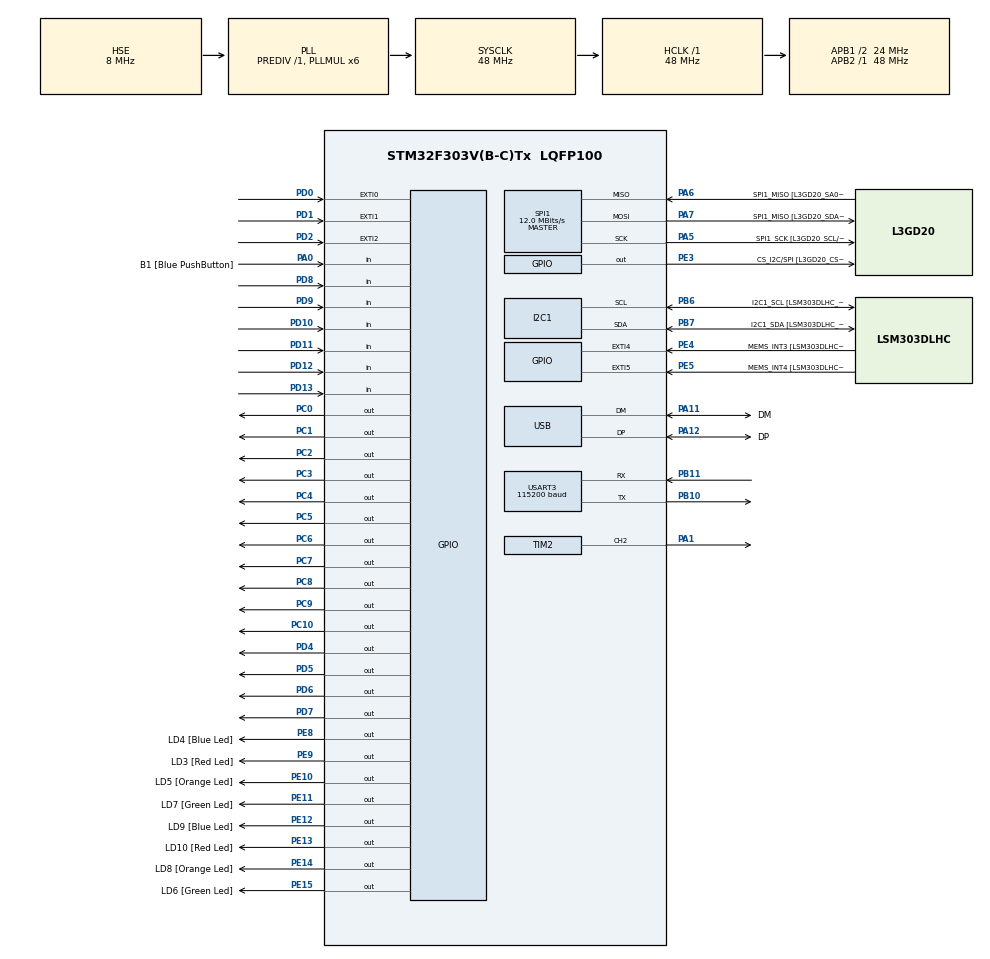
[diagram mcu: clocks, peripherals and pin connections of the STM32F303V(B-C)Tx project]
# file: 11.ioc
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I2C1.Timing-I2C=0x2000090E
Mcu.Family=STM32F3
Mcu.Name=STM32F303V(B-C)Tx
Mcu.Package=LQFP100
NVIC.EXTI0_IRQn=true\:1\:0\:true\:false\:true\:true\:true\:true
NVIC.EXTI1_IRQn=true\:1\:0\:true\:false\:true\:true\:true\:true
NVIC.EXTI2_TSC_IRQn=true\:1\:0\:true\:false\:true\:true\:true\:true
NVIC.PriorityGroup=NVIC_PRIORITYGROUP_2
PA0.GPIO_Label=B1 [Blue PushButton]
PA0.Signal=GPIO_Input
PA1.Signal=S_TIM2_CH2
PA11.GPIO_Label=DM
PA11.Mode=Device
PA11.Signal=USB_DM
PA12.GPIO_Label=DP
PA12.Mode=Device
PA12.Signal=USB_DP
PA13.GPIO_Label=SWDIO
PA13.Mode=Serial_Wire
PA13.Signal=SYS_JTMS-SWDIO
PA14.GPIO_Label=SWCLK
PA14.Mode=Serial_Wire
PA14.Signal=SYS_JTCK-SWCLK
PA5.GPIO_Label=SPI1_SCK [L3GD20_SCL/SPC]
PA5.Mode=Full_Duplex_Master
PA5.Signal=SPI1_SCK
PA6.GPIO_Label=SPI1_MISO [L3GD20_SA0/SDO]
PA6.Mode=Full_Duplex_Master
PA6.Signal=SPI1_MISO
PA7.GPIO_Label=SPI1_MISO [L3GD20_SDA/SDI/SDO]
PA7.Mode=Full_Duplex_Master
PA7.Signal=SPI1_MOSI
PB10.Mode=Asynchronous
PB10.Signal=USART3_TX
PB11.Mode=Asynchronous
PB11.Signal=USART3_RX
PB3.GPIO_Label=SWO
PB3.Signal=SYS_JTDO-TRACESWO
PB6.GPIO_Label=I2C1_SCL [LSM303DLHC_SCL]
PB6.GPIO_Pu=GPIO_PULLUP
PB6.Mode=I2C
PB6.Signal=I2C1_SCL
PB7.GPIO_Label=I2C1_SDA [LSM303DLHC_SDA]
PB7.GPIO_Pu=GPIO_PULLUP
PB7.Mode=I2C
PB7.Signal=I2C1_SDA
PC0.Signal=GPIO_Output
PC1.Signal=GPIO_Output
PC10.Signal=GPIO_Output
PC14-OSC32_IN.GPIO_Label=OSC32_IN
PC14-OSC32_IN.Signal=RCC_OSC32_IN
PC15-OSC32_OUT.GPIO_Label=OSC32_OUT
PC15-OSC32_OUT.Signal=RCC_OSC32_OUT
PC2.Signal=GPIO_Output
PC3.Signal=GPIO_Output
PC4.Signal=GPIO_Output
PC5.Signal=GPIO_Output
PC6.Signal=GPIO_Output
PC7.Signal=GPIO_Output
PC8.Signal=GPIO_Output
PC9.Signal=GPIO_Output
PD0.GPIO_ModeDefaultEXTI=GPIO_MODE_IT_RISING
PD0.GPIO_PuPd=GPIO_PULLDOWN
PD0.Signal=GPXTI0
PD1.GPIO_ModeDefaultEXTI=GPIO_MODE_IT_RISING
PD1.GPIO_PuPd=GPIO_PULLDOWN
PD1.Signal=GPXTI1
PD10.Signal=GPIO_Input
PD11.Signal=GPIO_Input
PD12.Signal=GPIO_Input
PD13.Signal=GPIO_Input
PD2.GPIO_ModeDefaultEXTI=GPIO_MODE_IT_RISING
PD2.GPIO_PuPd=GPIO_PULLDOWN
PD2.Signal=GPXTI2
PD4.Signal=GPIO_Output
PD5.Signal=GPIO_Output
PD6.Signal=GPIO_Output
PD7.Signal=GPIO_Output
PD8.Signal=GPIO_Input
PD9.Signal=GPIO_Input
PE10.GPIO_Label=LD5 [Orange Led]
PE10.Signal=GPIO_Output
PE11.GPIO_Label=LD7 [Green Led]
PE11.Signal=GPIO_Output
PE12.GPIO_Label=LD9 [Blue Led]
PE12.Signal=GPIO_Output
PE13.GPIO_Label=LD10 [Red Led]
PE13.Signal=GPIO_Output
PE14.GPIO_Label=LD8 [Orange Led]
PE14.Signal=GPIO_Output
PE15.GPIO_Label=LD6 [Green Led]
PE15.Signal=GPIO_Output
PE3.GPIO_Label=CS_I2C/SPI [L3GD20_CS_I2C/SPI]
PE3.Signal=GPIO_Output
PE4.GPIO_Label=MEMS_INT3 [LSM303DLHC_INT1]
PE4.GPIO_ModeDefaultEXTI=GPIO_MODE_EVT_RISING
PE4.Signal=GPXTI4
PE5.GPIO_Label=MEMS_INT4 [LSM303DLHC_INT2]
PE5.GPIO_ModeDefaultEXTI=GPIO_MODE_EVT_RISING
PE5.Signal=GPXTI5
PE8.GPIO_Label=LD4 [Blue Led]
PE8.Signal=GPIO_Output
PE9.GPIO_Label=LD3 [Red Led]
PE9.Signal=GPIO_Output
PF0-OSC_IN.GPIO_Label=OSC_IN
PF0-OSC_IN.Mode=HSE-External-Clock-Source
PF0-OSC_IN.Signal=RCC_OSC_IN
PF1-OSC_OUT.GPIO_Label=OSC_OUT
PF1-OSC_OUT.Signal=RCC_OSC_OUT
ProjectManager.HeapSize=0x200
ProjectManager.StackSize=0x400
ProjectManager.TargetToolchain=STM32CubeIDE
RCC.AHBFreq_Value=48000000
RCC.APB1CLKDivider=RCC_HCLK_DIV2
RCC.APB1Freq_Value=24000000
RCC.APB1TimFreq_Value=48000000
RCC.APB2Freq_Value=48000000
RCC.APB2TimFreq_Value=48000000
RCC.CortexFreq_Value=48000000
RCC.HCLKFreq_Value=48000000
RCC.HSE_VALUE=8000000
RCC.HSI_VALUE=8000000
RCC.LSE_VALUE=32768
RCC.PLLMUL=RCC_PLL_MUL6
RCC.SYSCLKFreq_VALUE=48000000
RCC.SYSCLKSourceVirtual=RCC_SYSCLKSOURCE_PLLCLK
RCC.USBFreq_Value=48000000
RTC.AsynchPrediv=39
RTC.SynchPrediv=999
SH.S_TIM2_CH2.0=TIM2_CH2,PWM Generation2 CH2
SPI1.BaudRatePrescaler=SPI_BAUDRATEPRESCALER_4
SPI1.BaudRatePrescaler-Full_Duplex_Master=SPI_BAUDRATEPRESCALER_2
SPI1.CalculateBaudRate=12.0 MBits/s
SPI1.CalculateBaudRate-Full_Duplex_Master=24.0 MBits/s
SPI1.Direction=SPI_DIRECTION_2LINES
SPI1.Mode=SPI_MODE_MASTER
SPI1.Mode-Full_Duplex_Master=SPI_MODE_MASTER
SPI1.VirtualType=VM_MASTER
TIM2.Channel-PWM\ Generation2\ CH2=TIM_CHANNEL_2
USART3.BaudRate=115200
USART3.VirtualMode-Asynchronous=VM_ASYNC
VP_RTC_VS_RTC_Activate.Mode=RTC_Enabled
VP_RTC_VS_RTC_Calendar.Mode=RTC_Calendar
VP_TIM2_VS_ClockSourceINT.Mode=Internal
board=STM32F3DISCOVERY

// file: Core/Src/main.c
/* USER CODE BEGIN Header */
/**
  ******************************************************************************
  * @file           : main.c
  * @brief          : Main program body
  ******************************************************************************
  * @attention
  *
  * Copyright (c) 2024 STMicroelectronics.
  * All rights reserved.
  *
  * This software is licensed under terms that can be found in the LICENSE file
  * in the root directory of this software component.
  * If no LICENSE file comes with this software, it is provided AS-IS.
  *
  ******************************************************************************
  */
/* USER CODE END Header */
#include "main.h"

/* USER CODE BEGIN Includes */
#include "LiquidCrystal.h"

/* USER CODE END Includes */

I2C_HandleTypeDef hi2c1;

RTC_HandleTypeDef hrtc;

SPI_HandleTypeDef hspi1;

TIM_HandleTypeDef htim2;

UART_HandleTypeDef huart3;

PCD_HandleTypeDef hpcd_USB_FS;

void SystemClock_Config(void);
static void MX_GPIO_Init(void);
static void MX_I2C1_Init(void);
static void MX_SPI1_Init(void);
static void MX_USB_PCD_Init(void);
static void MX_USART3_UART_Init(void);
static void MX_RTC_Init(void);
static void MX_TIM2_Init(void);

/* USER CODE BEGIN 0 */

 int keypadjump=0;
 int pause=0;
 int start=0;

 RTC_TimeTypeDef sTime;
 RTC_DateTypeDef sDate;

 int UARTSETTIME=0;
  char rxBuffer[3]; // Buffer to store received data (8 characters + null terminator)
  //store input timer
char time[6];

//convert to rtc
uint8_t hourString[3];  // Buffer to hold the hour string for transmission
uint8_t minString[3];  // Buffer to hold the hour string for transmission
uint8_t secString[3];  // Buffer to hold the hour string for transmission

int initiate=0;

int mode=0;
int menu=0;
int menuposition=-1;
//for accepting menu option binary
int  menuchoice=0;

int clearmenuchoice=0;

int settingoption=0;
int health=1;
int speed=9;
int vol=1;
int blocks=4;

int returnfromchosen=0;
int end;

int mysterytimecount=0;
int xmystery=0;
int ymystery=0;
//heart=3
//4=mystery
//2=block
//1=apple

//6=body
//5=head
//-1=nothing

int grid[4][20];

//1=up;
//2=dwn;
//3=left;
//4=right;
int direction=4;
int snakelenght=1;

int currenthealth=2;
int currentapples=3;
int point=0;
//head to tale ([][])-->prioprity
int minute=0;

int finishgame=0;
typedef unsigned char byte;
byte heart[8] = {
  0x00,
  0x00,
  0x0A,
  0x15,
  0x11,
  0x0A,
  0x04,
  0x00
};
byte apple[8] = {
  0x00,
  0x06,
  0x04,
  0x0E,
  0x0E,
  0x0E,
  0x00,
  0x00
};
byte block[] = {
  0x00,
  0x1F,
  0x04,
  0x04,
  0x04,
  0x04,
  0x1F,
  0x00
};
byte luckybox[] = {
  0x00,
  0x0E,
  0x0A,
  0x06,
  0x04,
  0x00,
  0x04,
  0x00
};
byte menucursor[] = {
  0x00,
  0x18,
  0x1C,
  0x1E,
  0x1C,
  0x18,
  0x00,
  0x00
};
byte snake[] = {
  0x1F,
  0x1F,
  0x1F,
  0x1F,
  0x1F,
  0x1F,
  0x1F,
  0x1F
};
byte headsnake[] = {
  0x1F,
  0x1F,
  0x1F,
  0x19,
  0x19,
  0x1F,
  0x1F,
  0x1F
};

struct Segment{
	int x;
	int y;
	struct Segment *next;

};
enum Direction {UP, DOWN, LEFT, RIGHT};
/* USER CODE END 0 */

int main(void)
{
  /* USER CODE BEGIN 1 */

 	//empty field

	enum Direction currentDir = RIGHT;

	for(int i=0;i<4;i++){
		for(int j=0;j<20;j++){

			  grid[i][j]=-1;

		}
	}

	// Initialize snake
	struct Segment* segment = malloc(sizeof(struct Segment));
	struct Segment* tail = malloc(sizeof(struct Segment));

	segment->x = 0;
	segment->y = 1;
	segment->next = tail;

	tail->x=0;
	tail->y=0;
	tail->next=NULL;

grid[0][0]=6;
grid[0][1]=5;

  /* USER CODE END 1 */

  /* MCU Configuration--------------------------------------------------------*/

  /* Reset of all peripherals, Initializes the Flash interface and the Systick. */
  HAL_Init();

  /* Configure the system clock */
  SystemClock_Config();

  /* Initialize all configured peripherals */
  MX_GPIO_Init();
  MX_I2C1_Init();
  MX_SPI1_Init();
  MX_USB_PCD_Init();
  MX_USART3_UART_Init();
  MX_RTC_Init();
  MX_TIM2_Init();
  /* USER CODE BEGIN 2 */

  LiquidCrystal(GPIOD,GPIO_PIN_8,GPIO_PIN_9, GPIO_PIN_10, GPIO_PIN_11,GPIO_PIN_12,GPIO_PIN_13, GPIO_PIN_14);
  begin(20,4);

  RTC_TimeTypeDef mytime;
  int number=0;

  TIM_HandleTypeDef *pwm_timers=&htim2;
  uint32_t pwm_channels=TIM_CHANNEL_2;
  void PWM_Change_Tones(uint16_t pwm_freq,uint16_t volume){
  	  TIM4->CCR2=10;
  	  if(pwm_freq==0||pwm_freq>20000){

  		  __HAL_TIM_SET_COMPARE(pwm_timers,pwm_channels,0);

  	  }
  	  else{
  		  const uint32_t internal_Clock_freq=HAL_RCC_GetSysClockFreq();
  		  const uint16_t prescaler=1+internal_Clock_freq/pwm_freq/60000;
  		  const uint32_t timer_clock=internal_Clock_freq/ prescaler;
  		  const uint32_t period_cycle=timer_clock/pwm_freq;
          const uint32_t pulse_width=volume*period_cycle/1000/2;

          pwm_timers->Instance->PSC=prescaler-1;
          pwm_timers->Instance->ARR=period_cycle-1;
          pwm_timers->Instance->EGR=TIM_EGR_UG;
  __HAL_TIM_SET_COMPARE(pwm_timers,pwm_channels,pulse_width);

  	  }

  }
  void On_First7segment(){
  	   	  				HAL_GPIO_WritePin(GPIOC,GPIO_PIN_7,0);
  	   }
  void On_Second7segment(){
  	   	  				HAL_GPIO_WritePin(GPIOC,GPIO_PIN_8,0);}
  void On_Third7segment(){
  	   	  	  			HAL_GPIO_WritePin(GPIOC,GPIO_PIN_9,0);
  	   	  }

  void On_Forth7segment(){
  	   	  				HAL_GPIO_WritePin(GPIOC,GPIO_PIN_10,0);
  	   }
  void Off_First7segment(){
   	   	  				HAL_GPIO_WritePin(GPIOC,GPIO_PIN_7,1);
  	   					HAL_GPIO_WritePin(GPIOC,GPIO_PIN_0,0);
  	   		   		  	HAL_GPIO_WritePin(GPIOC,GPIO_PIN_1,0);
  	   		   		  	HAL_GPIO_WritePin(GPIOC,GPIO_PIN_2,0);
  	   		   		  	HAL_GPIO_WritePin(GPIOC,GPIO_PIN_3,0);
  	   		   		  	HAL_GPIO_WritePin(GPIOC,GPIO_PIN_4,0);
  	   		   		  	HAL_GPIO_WritePin(GPIOC,GPIO_PIN_5,0);
  	   		   		  	HAL_GPIO_WritePin(GPIOC,GPIO_PIN_6,0);
  	   }
  void Off_Second7segment(){
  	   	  				HAL_GPIO_WritePin(GPIOC,GPIO_PIN_8,1);
  	   					HAL_GPIO_WritePin(GPIOC,GPIO_PIN_0,0);
  	   		   		  	HAL_GPIO_WritePin(GPIOC,GPIO_PIN_1,0);
  	   		   		  	HAL_GPIO_WritePin(GPIOC,GPIO_PIN_2,0);
  	   		   		  	HAL_GPIO_WritePin(GPIOC,GPIO_PIN_3,0);
  	   		   		  	HAL_GPIO_WritePin(GPIOC,GPIO_PIN_4,0);
  	   		   		  	HAL_GPIO_WritePin(GPIOC,GPIO_PIN_5,0);
  	   		   		  	HAL_GPIO_WritePin(GPIOC,GPIO_PIN_6,0);}
  void Off_Third7segment(){
  	   	  	 			HAL_GPIO_WritePin(GPIOC,GPIO_PIN_9,1);
  	   	  				HAL_GPIO_WritePin(GPIOC,GPIO_PIN_0,0);
  	   	  		   	        HAL_GPIO_WritePin(GPIOC,GPIO_PIN_1,0);
  	   	  		   	        HAL_GPIO_WritePin(GPIOC,GPIO_PIN_2,0);
  	   	  		   		HAL_GPIO_WritePin(GPIOC,GPIO_PIN_3,0);
  	   	  		   		HAL_GPIO_WritePin(GPIOC,GPIO_PIN_4,0);
      		  	    		        HAL_GPIO_WritePin(GPIOC,GPIO_PIN_5,0);
  	   	  		   		HAL_GPIO_WritePin(GPIOC,GPIO_PIN_6,0);
  	   	  }

  void Off_Forth7segment(){
  	   	  				HAL_GPIO_WritePin(GPIOC,GPIO_PIN_10,1);
  	   					HAL_GPIO_WritePin(GPIOC,GPIO_PIN_0,0);
  	   		  		        HAL_GPIO_WritePin(GPIOC,GPIO_PIN_1,0);
  	   		  		        HAL_GPIO_WritePin(GPIOC,GPIO_PIN_2,0);
  	   		  		  	HAL_GPIO_WritePin(GPIOC,GPIO_PIN_3,0);
  	   		  		        HAL_GPIO_WritePin(GPIOC,GPIO_PIN_4,0);
  	   		  		  	HAL_GPIO_WritePin(GPIOC,GPIO_PIN_5,0);
  	   		  		  	HAL_GPIO_WritePin(GPIOC,GPIO_PIN_6,0);
  	   }
  void Number (int number){
  	  	  if(number==0){
  	  	    		  		  HAL_GPIO_WritePin(GPIOC,GPIO_PIN_0,1);
  	  	    				  HAL_GPIO_WritePin(GPIOC,GPIO_PIN_1,1);
  	  	    	  	  		  HAL_GPIO_WritePin(GPIOC,GPIO_PIN_2,1);
  	  	    				  HAL_GPIO_WritePin(GPIOC,GPIO_PIN_3,1);
  	  	    		  		  HAL_GPIO_WritePin(GPIOC,GPIO_PIN_4,1);
  	  	    		 		  HAL_GPIO_WritePin(GPIOC,GPIO_PIN_5,1);

  	  	  }

  	  	  if(number==1){
  	  		 		       	  HAL_GPIO_WritePin(GPIOC,GPIO_PIN_1,1);
  	  		  			  HAL_GPIO_WritePin(GPIOC,GPIO_PIN_2,1);

  	  	  }
  	  	  if(number==2){
  	  		 			  HAL_GPIO_WritePin(GPIOC,GPIO_PIN_0,1);
  	  		  	    		  HAL_GPIO_WritePin(GPIOC,GPIO_PIN_1,1);
  	  		  	    		  HAL_GPIO_WritePin(GPIOC,GPIO_PIN_3,1);
  	  		  	    		  HAL_GPIO_WritePin(GPIOC,GPIO_PIN_4,1);
  	   		  	    		  HAL_GPIO_WritePin(GPIOC,GPIO_PIN_6,1);
  	  	  }
  	  	  if(number==3){
  	  		 			  HAL_GPIO_WritePin(GPIOC,GPIO_PIN_0,1);
  	  		  	    		  HAL_GPIO_WritePin(GPIOC,GPIO_PIN_1,1);
  	  		  	    	  	  HAL_GPIO_WritePin(GPIOC,GPIO_PIN_2,1);
  	  		  	    		  HAL_GPIO_WritePin(GPIOC,GPIO_PIN_3,1);
  	  		  	    		  HAL_GPIO_WritePin(GPIOC,GPIO_PIN_6,1);
  	  	  }
  	  	  if(number==4){
  	  		  	    		  HAL_GPIO_WritePin(GPIOC,GPIO_PIN_1,1);
  	  		  	    	  	  HAL_GPIO_WritePin(GPIOC,GPIO_PIN_2,1);
  	   		  	    		  HAL_GPIO_WritePin(GPIOC,GPIO_PIN_5,1);
  	  		  	    		  HAL_GPIO_WritePin(GPIOC,GPIO_PIN_6,1);
  	  	  }
  	  	  if(number==5){
  	  					  HAL_GPIO_WritePin(GPIOC,GPIO_PIN_0,1);
  	  		  	    	  	  HAL_GPIO_WritePin(GPIOC,GPIO_PIN_2,1);
  	  		  	    		  HAL_GPIO_WritePin(GPIOC,GPIO_PIN_3,1);
  	  		  	    		  HAL_GPIO_WritePin(GPIOC,GPIO_PIN_5,1);
  	  		  	    		  HAL_GPIO_WritePin(GPIOC,GPIO_PIN_6,1);
  	  	  }
  	  	  if(number==6){
  	  		                  	  HAL_GPIO_WritePin(GPIOC,GPIO_PIN_0,1);
  	  		  	    	  	  HAL_GPIO_WritePin(GPIOC,GPIO_PIN_2,1);
  	  		  	    		  HAL_GPIO_WritePin(GPIOC,GPIO_PIN_3,1);
  	  		  	    		  HAL_GPIO_WritePin(GPIOC,GPIO_PIN_4,1);
  	  		  	    		  HAL_GPIO_WritePin(GPIOC,GPIO_PIN_5,1);
  	  		  	    		  HAL_GPIO_WritePin(GPIOC,GPIO_PIN_6,1);
  	  	  }
  	  	  if(number==7){
  	  		 			  HAL_GPIO_WritePin(GPIOD,GPIO_PIN_0,1);
  	  		  	    		  HAL_GPIO_WritePin(GPIOD,GPIO_PIN_1,1);
  	  		  	    	  	  HAL_GPIO_WritePin(GPIOD,GPIO_PIN_2,1);

  	  	  }
  	  	  if(number==8){
  	  					  HAL_GPIO_WritePin(GPIOC,GPIO_PIN_0,1);
  	  		  	    		  HAL_GPIO_WritePin(GPIOC,GPIO_PIN_1,1);
  	  		  	    	  	  HAL_GPIO_WritePin(GPIOC,GPIO_PIN_2,1);
  	  		  	    		  HAL_GPIO_WritePin(GPIOC,GPIO_PIN_3,1);
  	  		  	    		  HAL_GPIO_WritePin(GPIOC,GPIO_PIN_4,1);
  	  		  	    		  HAL_GPIO_WritePin(GPIOC,GPIO_PIN_5,1);
  	  		  	    		  HAL_GPIO_WritePin(GPIOC,GPIO_PIN_6,1);
  	  	  }
  	  	  if(number==9){

  	  		 			  HAL_GPIO_WritePin(GPIOC,GPIO_PIN_0,1);
  	  		  	    		  HAL_GPIO_WritePin(GPIOC,GPIO_PIN_1,1);
  	  		  	    	  	  HAL_GPIO_WritePin(GPIOC,GPIO_PIN_2,1);
  	  		  	    		  HAL_GPIO_WritePin(GPIOC,GPIO_PIN_3,1);
  	   		  	    		  HAL_GPIO_WritePin(GPIOC,GPIO_PIN_5,1);
  	  		  	    		  HAL_GPIO_WritePin(GPIOC,GPIO_PIN_6,1);
  	  	  }
  	    }

	    HAL_GPIO_WritePin(GPIOD, GPIO_PIN_4, GPIO_PIN_SET);
	    HAL_GPIO_WritePin(GPIOD, GPIO_PIN_5, GPIO_PIN_SET);
	    HAL_GPIO_WritePin(GPIOD, GPIO_PIN_6, GPIO_PIN_SET);
	    HAL_GPIO_WritePin(GPIOD, GPIO_PIN_7, GPIO_PIN_SET);
  /* USER CODE END 2 */

  /* Infinite loop */
  /* USER CODE BEGIN WHILE */
sTime.Hours=0;
sTime.Minutes=0;
sTime.Seconds=0;
sDate.Date=2;
sDate.Month=9;
sDate.Year=24;

HAL_RTC_SetTime(&hrtc, &sTime, RTC_FORMAT_BIN);
HAL_RTC_SetDate(&hrtc, &sDate, RTC_FORMAT_BIN);

// Function to print the grid
/*void printGrid(int grid[4][20]) {
for (int i = 0; i < 4; i++) {
for (int j = 0; j < 20; j++) {
	if (grid[i][j]==5){
		setCursor(j, i);
		 write(5);

	}
	if (grid[i][j]==6){
			setCursor(j, i);
			 write(6);

		}
	if (grid[i][j]==-1){
				setCursor(j, i);
print(" ");
			}
}

}}*/
// Function to move the snake
//mode1
void randomapple(){

	int rowmin=0;
	int rowmax=3;
	int colmin=0;
	int colmax=19;
	//random apple
	for(int i=0;i<1;i++){
		int rowrandom=(rand()%(rowmax-rowmin+1)+rowmin);
int colrandom=(rand()%(colmax-colmin+1)+colmin);
if(grid[rowrandom][colrandom]==-1){
	setCursor(colrandom, rowrandom);
	write(1);
	grid[rowrandom][colrandom]=1;
}
else i--;

}

}
void randommys(){

	int rowmin=0;
	int rowmax=3;
	int colmin=0;
	int colmax=19;
	//random apple
	for(int i=0;i<1;i++){
		int rowrandom=(rand()%(rowmax-rowmin+1)+rowmin);
int colrandom=(rand()%(colmax-colmin+1)+colmin);
if(grid[rowrandom][colrandom]==-1){
	setCursor(colrandom, rowrandom);
	write(3);
	grid[rowrandom][colrandom]=4;
	xmystery=rowrandom;
	ymystery=colrandom;
mysterytimecount++;
}
else i--;

}
}
void randomhealth(){

	int rowmin=0;
	int rowmax=3;
	int colmin=0;
	int colmax=19;
	//randomheart
	for(int i=0;i<1;i++){
		int rowrandom=(rand()%(rowmax-rowmin+1)+rowmin);
int colrandom=(rand()%(colmax-colmin+1)+colmin);
if(grid[rowrandom][colrandom]==-1){
	setCursor(colrandom, rowrandom);
	write(0);
	grid[rowrandom][colrandom]=3;
}
else i--;

}

}
void moveSnake(struct Segment* head, enum Direction dir,   int grid[4]
[20]) {

// Determine the new head position
int newX = head->x;
int newY = head->y;
switch (dir) {
case UP: newX--; break;
case DOWN: newX++; break;
case LEFT: newY--; break;
case RIGHT: newY++; break;
}
// Wrap around the grid
if (newX < 0) newX = 4 - 1;
if (newX >= 4) newX = 0;
if (newY < 0) newY = 20 - 1;
if (newY >= 20) newY = 0;
struct Segment* tails = head;

mysterytimecount++;
if(mysterytimecount>5){
	mysterytimecount=0;
	grid[xmystery][ymystery]=-1;
	setCursor(ymystery, xmystery);
	print(" ");
	randommys();
}
// Check for apple

int delete=0;
//apple
if (grid[newX][newY]==1) {
	PWM_Change_Tones(500, 100);
	point++;
	delete=1;
	grid[newX][newY]=-1;
	setCursor(newY, newX);
	print(" ");

// Add new head segment

	struct Segment* newHead = malloc(sizeof(struct Segment));
	newHead->x = newX;

	newHead->y = newY;

	newHead->next = head;

	segment = newHead;
	currentapples--;
	if(currentapples==0)
	{

		currentapples=1;
		randomapple();
	}

	PWM_Change_Tones(0, 0);
}
//health
if (grid[newX][newY]==3) {

	PWM_Change_Tones(650, 100);

	grid[newX][newY]=-1;

	if(health<99)
	health++;
	currenthealth--;
	if(currenthealth==0)
	{
		currenthealth=1;
		randomhealth();
	}
	PWM_Change_Tones(650, 100);

}
//mystery
if (grid[newX][newY]==4) {
	PWM_Change_Tones(400, 100);

	grid[newX][newY]=-1;

	int random=(rand()%(3-1+1)+1);
//0->>+2point
	//1->+2health
//2 -speed
	if(random==0){
		if(point<99)point=point+2;;

	}
	if(random==1){
		if(health<99)health=health+2;
	}
	if(random==2){
		if(speed>=2)speed--;
	}
	PWM_Change_Tones(0, 0);

}
//block
if (grid[newX][newY]==2) {
	health--;

	PWM_Change_Tones(700, 100);
HAL_Delay(10);
if(currentDir==RIGHT)
{
currentDir=DOWN;
direction=2;
}else if(currentDir==DOWN){
currentDir=LEFT;
direction=3;
}
else if(currentDir==LEFT){
	direction=1;
	currentDir=UP;}
else if(currentDir==UP){
	currentDir=RIGHT;
direction=4;}
PWM_Change_Tones(0, 0);

return;

}
//barkhord be badan
if(grid[newX][newY]==6){
	health--;

	if(health==0)
	{
		//clear();
	//	HAL_Delay(5000);
	}
}

// Move the snake by removing the tail and adding a new head
if(delete==0){
tails = head;
while ( tails->next->next != NULL) {

tails = tails->next;
}

grid[tails->next->x][tails->next->y] = -1;

setCursor(tails->next->y, tails->next->x);
print(" ");
free(tails->next);
tails->next = NULL;

}delete=0;

struct Segment* newHead = malloc(sizeof(struct Segment));
newHead->x = newX;
newHead->y = newY;

newHead->next = head;
segment = newHead;

// Update grid with snake position

struct Segment* segments = segment;

if(  segments){

	grid[segments->x][segments->y] = 5;
setCursor(segments->y, segments->x);
write(5);
HAL_Delay(100);

}
	segments = segments->next;

while (segments != NULL) {
grid[segments->x][segments->y] = 6;
setCursor(segments->y, segments->x);

write(6);
segments = segments->next;

}
int firstpoint=0;
	int secondpoint=0;
	secondpoint=point/10;
	firstpoint=point%10;

	Off_First7segment();

	Off_Third7segment();
	Off_Forth7segment();
	Off_Second7segment();
	On_First7segment();
		if(secondpoint==0)Number(0);
		if(secondpoint==1)Number(1);
		if(secondpoint==2)Number(2);
		if(secondpoint==3)Number(3);
		if(secondpoint==4)Number(4);
		if(secondpoint==5)Number(5);
		if(secondpoint==6)Number(6);
		if(secondpoint==7)Number(7);
		if(secondpoint==8)Number(8);
		if(secondpoint==9)Number(9);

		HAL_Delay(1);
		Off_First7segment();
		Off_Second7segment();

		Off_Third7segment();
		Off_Forth7segment();
		On_Second7segment();

			if(firstpoint==0)Number(0);
			if(firstpoint==1)Number(1);
			if(firstpoint==2)Number(2);
			if(firstpoint==3)Number(3);
			if(firstpoint==4)Number(4);
			if(firstpoint==5)Number(5);
			if(firstpoint==6)Number(6);
			if(firstpoint==7)Number(7);
			if(firstpoint==8)Number(8);
			if(firstpoint==9)Number(9);

}

void moveSnake2(struct Segment* head, enum Direction dir,   int grid[4]
[20]) {

// Determine the new head position
int newX = head->x;
int newY = head->y;
switch (dir) {
case UP: newX--; break;
case DOWN: newX++; break;
case LEFT: newY--; break;
case RIGHT: newY++; break;
}
// Wrap around the grid
if (newX < 0){ newX = 4 - 1;health--;currentDir=RIGHT;
direction=4;}
if (newX >= 4) {newX = 0;health--;currentDir=LEFT;
direction=3;}
if (newY < 0) {newY = 20 - 1;health--;	direction=1;
currentDir=UP;}
if (newY >= 20){ newY = 0;health--;currentDir=DOWN;
direction=2;}
struct Segment* tails = head;

// Check for apple
mysterytimecount++;
if(mysterytimecount>5){
	mysterytimecount=0;
	grid[xmystery][ymystery]=-1;
	setCursor(ymystery, xmystery);
	print(" ");
	randommys();
}
int delete=0;
//apple
if (grid[newX][newY]==1) {
	PWM_Change_Tones(500, 100);

	point++;
	delete=1;
	grid[newX][newY]=-1;
	setCursor(newY, newX);
	print(" ");

// Add new head segment

	struct Segment* newHead = malloc(sizeof(struct Segment));
	newHead->x = newX;

	newHead->y = newY;

	newHead->next = head;

	segment = newHead;
	currentapples--;
	if(currentapples==0)
	{
		currentapples=1;
		randomapple();
	}
	PWM_Change_Tones(0, 0);

}
//health
if (grid[newX][newY]==3) {
	PWM_Change_Tones(650, 100);

	grid[newX][newY]=-1;

	if(health<99)
	health++;
	currenthealth--;
	if(currenthealth==0)
	{
		currenthealth=1;
		randomhealth();
	}
	PWM_Change_Tones(650, 100);

}
//mystery
if (grid[newX][newY]==4) {
	PWM_Change_Tones(400, 100);

	grid[newX][newY]=-1;
	int random=(rand()%(3-1+1)+1);
//0->>+2point
	//1->+2health
//2 -speed
	if(random==0){
		if(point<99)point=point+2;;

	}
	if(random==1){
		if(health<99)health=health+2;
	}
	if(random==2){
		if(speed>=2)speed--;
	}
	PWM_Change_Tones(0, 0);

}
//block
if (grid[newX][newY]==2) {
	health--;
	PWM_Change_Tones(700, 100);
	HAL_Delay(10);

if(currentDir==RIGHT)
{
currentDir=DOWN;
direction=2;
}else if(currentDir==DOWN){
currentDir=LEFT;
direction=3;
}
else if(currentDir==LEFT){
	direction=1;
	currentDir=UP;}
else if(currentDir==UP){
	currentDir=RIGHT;
direction=4;}
PWM_Change_Tones(0, 0);

return;
}
//barkhord be badan
if(grid[newX][newY]==6){
	health--;

	if(health==0)
	{
		//clear();
	//	HAL_Delay(5000);
	}
}

// Move the snake by removing the tail and adding a new head
if(delete==0){
tails = head;
while ( tails->next->next != NULL) {

tails = tails->next;
}

grid[tails->next->x][tails->next->y] = -1;

setCursor(tails->next->y, tails->next->x);
print(" ");
free(tails->next);
tails->next = NULL;

}delete=0;

struct Segment* newHead = malloc(sizeof(struct Segment));
newHead->x = newX;
newHead->y = newY;

newHead->next = head;
segment = newHead;

// Update grid with snake position

struct Segment* segments = segment;

if(  segments){

	grid[segments->x][segments->y] = 5;
setCursor(segments->y, segments->x);
write(5);
HAL_Delay(100);

}
	segments = segments->next;

while (segments != NULL) {
grid[segments->x][segments->y] = 6;
setCursor(segments->y, segments->x);

write(6);
segments = segments->next;

}
}
void moveSnake3(struct Segment* head, enum Direction dir,   int grid[4]
[20]) {

// Determine the new head position
int newX = head->x;
int newY = head->y;
switch (dir) {
case UP: newX--; break;
case DOWN: newX++; break;
case LEFT: newY--; break;
case RIGHT: newY++; break;
}
// Wrap around the grid
if (newX < 0) newX = 4 - 1;
if (newX >= 4) newX = 0;
if (newY < 0) newY = 20 - 1;
if (newY >= 20) newY = 0;
struct Segment* tails = head;

// Check for apple

int delete=0;
mysterytimecount++;
if(mysterytimecount>5){
	mysterytimecount=0;
	grid[xmystery][ymystery]=-1;
	setCursor(ymystery, xmystery);
	print(" ");
	randommys();
}
//apple
if (grid[newX][newY]==1) {
	PWM_Change_Tones(500, 100);

	point++;
	delete=1;
	grid[newX][newY]=-1;
	setCursor(newY, newX);
	print(" ");

// Add new head segment

	struct Segment* newHead = malloc(sizeof(struct Segment));
	newHead->x = newX;

	newHead->y = newY;

	newHead->next = head;

	segment = newHead;

	currentapples--;
if(currentapples==0)
{
	currentapples=1;
	randomapple();
}
PWM_Change_Tones(0, 0);

}
//health
if (grid[newX][newY]==3) {
	PWM_Change_Tones(650, 100);

	grid[newX][newY]=-1;

	if(health<99)
	health++;
	currenthealth--;
if(currenthealth==0)
{
	currenthealth=1;
	randomhealth();
}
PWM_Change_Tones(0, 0);

}
//mystery
if (grid[newX][newY]==4)
	PWM_Change_Tones(400, 100);
{
	grid[newX][newY]=-1;
	int random=(rand()%(3-1+1)+1);
//0->>+2point
	//1->+2health
//2 -speed
	if(random==0){
		if(point<99)point=point+2;;

	}
	if(random==1){
		if(health<99)health=health+2;
	}
	if(random==2){
		if(speed>=2)speed--;
	}
	PWM_Change_Tones(0, 0);

}
//block
if (grid[newX][newY]==2) {
	health--;

	PWM_Change_Tones(700, 100);
	HAL_Delay(10);

if(currentDir==RIGHT)
{
currentDir=DOWN;
direction=2;
}else if(currentDir==DOWN){
currentDir=LEFT;
direction=3;
}
else if(currentDir==LEFT){
	direction=1;
	currentDir=UP;}
else if(currentDir==UP){
	currentDir=RIGHT;
direction=4;}
PWM_Change_Tones(0, 0);

return;
}
//barkhord be badan
if(grid[newX][newY]==6){
	health--;

	if(health==0)
	{
		//clear();
	//	HAL_Delay(5000);
	}
}

// Move the snake by removing the tail and adding a new head
if(delete==0){
tails = head;
while ( tails->next->next != NULL) {

tails = tails->next;
}

grid[tails->next->x][tails->next->y] = -1;

setCursor(tails->next->y, tails->next->x);
print(" ");
free(tails->next);
tails->next = NULL;

}delete=0;

struct Segment* newHead = malloc(sizeof(struct Segment));
newHead->x = newX;
newHead->y = newY;

newHead->next = head;
segment = newHead;

// Update grid with snake position

struct Segment* segments = segment;

if(  segments){

	grid[segments->x][segments->y] = 5;
setCursor(segments->y, segments->x);
write(5);
HAL_Delay(100);

}
	segments = segments->next;

while (segments != NULL) {
grid[segments->x][segments->y] = 6;
setCursor(segments->y, segments->x);

write(6);
segments = segments->next;

}
}

void initialize(){

	int rowmin=0;
	int rowmax=3;
	int colmin=0;
	int colmax=19;
	srand(HAL_GetTick());
	//random block
	for(int i=0;i<blocks;i++){
		int rowrandom=(rand()%(rowmax-rowmin+1)+rowmin);
int colrandom=(rand()%(colmax-colmin+1)+colmin);
if(grid[rowrandom][colrandom]==-1){
	setCursor(colrandom, rowrandom);
	write(2);
	grid[rowrandom][colrandom]=2;
}
else i--;

	}

	//random heart
	for(int i=0;i<2;i++){
		int rowrandom=(rand()%(rowmax-rowmin+1)+rowmin);
int colrandom=(rand()%(colmax-colmin+1)+colmin);
if(grid[rowrandom][colrandom]==-1){
	setCursor(colrandom, rowrandom);
	write(0);
	grid[rowrandom][colrandom]=3;
}
else i--;

}

	//random apple
	for(int i=0;i<3;i++){
		int rowrandom=(rand()%(rowmax-rowmin+1)+rowmin);
int colrandom=(rand()%(colmax-colmin+1)+colmin);
if(grid[rowrandom][colrandom]==-1){
	setCursor(colrandom, rowrandom);
	write(1);
	grid[rowrandom][colrandom]=1;
}
else i--;

}
//a
randommys();
}
int finishuart=0;
char names[7];
names[0]='P';
names[1]='l';
names[2]='a';
names[3]='y';
names[4]='e';
names[5]='r';
names[6]='1';

  while (1)
  {
    /* USER CODE END WHILE */

    /* USER CODE BEGIN 3 */

	  //intitale screen
	  if(menu<1){

	  createChar(0, heart);
	  setCursor(1, 0);
	  write(0);
	  createChar(1, apple);
	  setCursor(1, 3);
	  write(1);
	  createChar(2, block);
	  setCursor(19, 0);
	  write(2);
	  createChar(3, luckybox);
	  setCursor(19, 3);
	  write(3);

	  setCursor(6, 1);
	  print("WELCOME TO");
	  setCursor(8, 2);
	  print("SNAKE!");

	  while (finishuart==0){

	  		 HAL_UART_Receive(&huart3, rxBuffer, 3, 100);

	  		          //   rxBuffer[3] = '\0'; // Null-terminate the received string
	  		             // Process the received data (rxBuffer now contains the string "12:23:43")
	  		             //volume
	  		             if(rxBuffer[0]=='V'){
	  	                        uint8_t v = (rxBuffer[1] - '0') * 10 + (rxBuffer[2] - '0');
	  vol=v;
	  HAL_UART_Transmit(&huart3, "OK",2, 150);

	  		             }
	  		             //health
	  		             else    if(rxBuffer[0]=='H'){
	  	                        uint8_t h = (rxBuffer[1] - '0') * 10 + (rxBuffer[2] - '0');
	  health=h;
	  HAL_UART_Transmit(&huart3, "OK",2 , 100);

	  		             }
	  		             //block
	  		             else if(rxBuffer[0]=='B'){
	  	                        uint8_t b = (rxBuffer[1] - '0') * 10 + (rxBuffer[2] - '0');
	  blocks=b;
	  HAL_UART_Transmit(&huart3, "OK",2 , 100);
	  		             }

	  		             else if(rxBuffer[0]=='F'){
	   finishuart=1;
	  		             }

	  		         }

	  }
	  //menu
	  if(menu==1){
		  if(returnfromchosen==1){

			  //return from choosen
			  returnfromchosen=0;
			  clear();
		  }
if(menuposition==-1)
{	   clear();
menuposition=0;
}
 //cursor updates
createChar(4,menucursor);
setCursor(6, menuposition);
write(4);
//m

if(menuposition==3){
	setCursor(6, 1);
	print(" ");
	setCursor(6, 0);
	print(" ");
	setCursor(6, 2);
	print(" ");
}
else if(menuposition==2){
	setCursor(6, 0);
	print(" ");
	setCursor(6, 1);
	print(" ");
	setCursor(6, 3);
	print(" ");
}
else if(menuposition==1){
	setCursor(6, 3);
	print(" ");
	setCursor(6, 2);
	print(" ");
	setCursor(6, 0);
	print(" ");
}
else if(menuposition==0){
	setCursor(6, 1);
	print(" ");
	setCursor(6, 2);
	print(" ");
	setCursor(6, 3);
	print(" ");
}
//menu
setCursor(7, 0);
print("Start!");
setCursor(7, 1);
print("Mode");
setCursor(7, 2);
print("Setting");
setCursor(7, 3);
print("About");

	  }
//menu choice
	  if(menuchoice==1){
		  if(clearmenuchoice==0){
		  clear();
		  menu=2;

		  //update it when back to main menu
		  clearmenuchoice=1;
		  }
		 if(menuposition==3){
 			 setCursor(0, 0);
			 print("AMIRMAHDI DAMAVANDI");
			 setCursor(0, 1);
			 print("SHAKILA HABIBI");
			 setCursor(0, 2);

			   HAL_RTC_GetTime(&hrtc, &sTime, RTC_FORMAT_BIN);
			   HAL_RTC_GetDate(&hrtc, &sDate, RTC_FORMAT_BIN);

 			   char lcdtime[20];
 			   char lcddate[30];

snprintf(lcdtime,sizeof(lcdtime),"TIME: %02d:%02d:%02d",sTime.Hours,sTime.Minutes,sTime.Seconds);
print(lcdtime);
setCursor(0, 3);
snprintf(lcddate,sizeof(lcddate),"DATE: %d : %02d : %02d",sDate.Year,sDate.Month,sDate.Date);
print(lcddate);

  		 }
		 if(menuposition==1){

			 //set curserchoice
 			 setCursor(0, mode);
			 write(4);
			   if(mode==2){
			 	setCursor(0, 0);
			 	print(" ");
			 	setCursor(0, 1);
			 	print(" ");

			 }
			 else if(mode==1){

			 	setCursor(0, 2);
			 	print(" ");
			 	setCursor(0, 0);
			 	print(" ");
			 }
			 else if(mode==0){
			 	setCursor(0, 1);
	//d
			 	print(" ");
			 	setCursor(0, 2);
			 	print(" ");

			 }
	 			 setCursor(1,0);
	 			 print ("MODE 1");

	 			 setCursor(1,1);
	 			 print ("MODE 2");

	 			 setCursor(1,2);
	 			 print ("MODE 3");

		 }
if(menuposition==2){
	 setCursor(0, settingoption);
				 write(4);
				   if(settingoption==3){
							 	setCursor(0, 0);
							 	print(" ");
							 	setCursor(0, 1);
							 	print(" ");
							 	setCursor(0, 2);
							 	print(" ");
							 }
				   if(settingoption==2){
				 	setCursor(0, 0);
				 	print(" ");
				 	setCursor(0, 1);
				 	print(" ");
				 	setCursor(0, 3);
				 	print(" ");
				 }
				 else if(settingoption==1){
					 	setCursor(0, 3);
					 	print(" ");
				 	setCursor(0, 2);
				 	print(" ");
				 	setCursor(0, 0);
				 	print(" ");
				 }
				 else if(settingoption==0){
				 	setCursor(0, 1);
				 	print(" ");
				 	setCursor(0, 2);
				 	print(" ");
				 	setCursor(0,3);
				 	print(" ");

				 }
	 			   char set[20];

		 			 setCursor(1,0);
		 			 print ("Health");
		 			 setCursor(10,0);
		 			snprintf(set,sizeof(set), "%02d",health);
		 			print(set);
		 			 setCursor(1,1);
		 			 print ("Speed");
		 			 setCursor(10,1);
			 			snprintf(set,sizeof(set), "%02d",speed);
			 			print(set);		 			 setCursor(1,2);
		 			 print ("volume");
		 			 setCursor(10,2);
			 			snprintf(set,sizeof(set), "%02d",vol);
			 			print(set);		 			 setCursor(1,3);
		 			 print ("block");
		 			 setCursor(10,3);
			 			snprintf(set,sizeof(set), "%02d",blocks);
			 			print(set);

			 			 setCursor(14,1);
			 			print ("NAME:");
			 			 setCursor(13,2);
			 			print (names);
			 			setCursor(1,1);
			 					 			 print ("Speed");
			 					 			setCursor(0, 1);
			 					 			print(" ");
			 }

if(menuposition==0){
//initiate
	createChar(5,headsnake);
	createChar(6,snake);
	setCursor(0, 0);
	write(6);
	setCursor(1, 0);
	write(5);

	initialize();

	/*
	setCursor(19,0);
	write(3);

	setCursor(3, 0);
	//v
		write(1);
		grid[0][3]=1;
		setCursor(4, 0);
			write(1);
			grid[0][4]=1;
			setCursor(5, 0);
				write(1);
				grid[0][5]=1;
				setCursor(6, 0);
					write(1);
					grid[0][6]=1;

//	setCursor(15,0);
//	write(2);
//write(5);
grid[0][19]=3;
setCursor(18,3);
	write(2);
grid[3][18]=2;

setCursor(2,2);
write(2);
grid[2][2]=2;

setCursor(3,3);
write(2);
grid[3][3]=2;
//grid[0][15]=2;
*/
//mode1
  // Example game loop with 20 iterations
HAL_Delay(100);

for(int j=0;j<10;j++){
	if(health<=0||point>=99){
		finishgame=1;
		break;
	}
	else{
	   HAL_RTC_GetTime(&hrtc, &sTime, RTC_FORMAT_BIN);
			   HAL_RTC_GetDate(&hrtc, &sDate, RTC_FORMAT_BIN);
minute=sTime.Seconds;

	HAL_Delay(speed*100);

	if(direction==1)currentDir=UP;
	if(direction==2)currentDir=DOWN;
	if(direction==3)currentDir=LEFT;
	if(direction==4)currentDir=RIGHT;
//mode1
if(mode==0)
	moveSnake(segment, currentDir, grid);
//mode2
else if(mode==1){
	moveSnake2(segment, currentDir, grid);

}
//mode3
else if(mode==2){

if(j==8){
	if(speed>=1)
	speed--;
}
	moveSnake3(segment, currentDir, grid);

}

if(j==9)j=0;
}}
if (finishgame==1){
	finishgame=2;
	clear();

	for(int i=1;i<18;i++){

		setCursor(i-1, 2);
		print(" ");
		setCursor(i, 2);
print("FINISH");
HAL_Delay(500);

	}
}
clear();
setCursor(0, 0);
print("Health:");
setCursor(10, 0);
char set[20];
snprintf(set,sizeof(set), "%02d",health);
print(set);

setCursor(0, 1);
print("Point:");
setCursor(10, 1);
set[20];
snprintf(set,sizeof(set), "%02d",point);
//i
print(set);

char prnt[20];
sprintf(prnt, "%02d",health);

HAL_UART_Transmit(&huart3,"NAME:",5, 1000);
HAL_UART_Transmit(&huart3,"PLAYER1",7, 1000);
HAL_UART_Transmit(&huart3,"\n",1, 1000);

HAL_UART_Transmit(&huart3,"health:",7, 1000);
HAL_UART_Transmit(&huart3,prnt,strlen(prnt), 1000);
HAL_UART_Transmit(&huart3,"\n",1, 1000);

 sprintf(prnt, "%02d",point);

HAL_UART_Transmit(&huart3,"points:",7, 1000);
HAL_UART_Transmit(&huart3,prnt,strlen(prnt), 1000);
HAL_UART_Transmit(&huart3,"\n",1, 1000);

HAL_Delay(1000000);

//printGrid(grid);

// Simulate direction change for demonstration
//if (z == 5) currentDir = DOWN;
//if (z == 10) currentDir = LEFT;
//if (z == 15) currentDir = UP;
//if (z == 0) currentDir = RIGHT;

}

}

	  /*
	  if(UARTSETTIME==0){

	  HAL_StatusTypeDef receiveStatus = HAL_UART_Receive(&huart3, (uint8_t *)rxBuffer, 9, HAL_MAX_DELAY);
	         if (receiveStatus == HAL_OK) {
	   		  UARTSETTIME=1;
	             rxBuffer[8] = '\0'; // Null-terminate the received string
	             // Process the received data (rxBuffer now contains the string "12:23:43")
	             time[0]= rxBuffer[0];
	             time[1]= rxBuffer[1];
	             time[2]= rxBuffer[3];
	             time[3]= rxBuffer[4];
	             time[4]= rxBuffer[6];
	             time[5]= rxBuffer[7];

	             //hour
	             // Convert the hours part to an integer
	                        uint8_t hours = (time[0] - '0') * 10 + (time[1] - '0');
mytime.Hours=hours;
	                        // Convert the hours integer to a string for UART transmission
	                        snprintf((char *)hourString, 3, "%02d", hours);

	                        //min
	                        // Convert the hours part to an integer
	                      	 uint8_t min = (time[2] - '0') * 10 + (time[3] - '0');
mytime.Minutes=min;
	                      	 // Convert the hours integer to a string for UART transmission
	                      	 snprintf((char *)minString, 3, "%02d",min);

	                      	 //sec
	                      	  // Convert the hours part to an integer
	                      uint8_t sec = (time[4] - '0') * 10 + (time[5] - '0');
mytime.Seconds=sec;
	                         // Convert the hours integer to a string for UART transmission
	                     snprintf((char *)secString, 3, "%02d", sec);
	                     // Set the RTC time
	                     HAL_RTC_SetTime(&hrtc, &mytime, RTC_FORMAT_BIN);

	         }
	  }
*/
	          //HAL_UART_Transmit(&huart3, hourString, 2, 100);
	        //  HAL_UART_Transmit(&huart3, minString, 2, 100);
	          //HAL_UART_Transmit(&huart3, secString, 2, 100);

/*

	  if(start==1){
if(initiate==0){
	  createChar(0, cactus);
      createChar(1, ground);
	  createChar(2, dino);
	  setCursor(4, 2);
write(2);
initiate=1;
}
for (int k=0;k<20;k++){

	setCursor(k, 3);
		  write(1);
}

for ( cactusposition=19;cactusposition>=0;cactusposition--){
	if(pause==0){
	if(keypadjump==1)
upjump();
if(flagjumpdino==1){

	jumpdinocycle++;
}

if(jumpdinocycle==4){
	downjump();
}
	setCursor(cactusposition, 2);
		  write(0);

print(" ");
HAL_Delay(200);

gameover();

}

	else {
		cactusposition=cactusposition+1;
	}
}
setCursor(0, 2);
print(" ");

	  }*/
  }
  /* USER CODE END 3 */
}

void SystemClock_Config(void)
{
  RCC_OscInitTypeDef RCC_OscInitStruct = {0};
  RCC_ClkInitTypeDef RCC_ClkInitStruct = {0};
  RCC_PeriphCLKInitTypeDef PeriphClkInit = {0};

  /** Initializes the RCC Oscillators according to the specified parameters
  * in the RCC_OscInitTypeDef structure.
  */
  RCC_OscInitStruct.OscillatorType = RCC_OSCILLATORTYPE_HSI|RCC_OSCILLATORTYPE_LSI
                              |RCC_OSCILLATORTYPE_HSE;
  RCC_OscInitStruct.HSEState = RCC_HSE_BYPASS;
  RCC_OscInitStruct.HSEPredivValue = RCC_HSE_PREDIV_DIV1;
  RCC_OscInitStruct.HSIState = RCC_HSI_ON;
  RCC_OscInitStruct.HSICalibrationValue = RCC_HSICALIBRATION_DEFAULT;
  RCC_OscInitStruct.LSIState = RCC_LSI_ON;
  RCC_OscInitStruct.PLL.PLLState = RCC_PLL_ON;
  RCC_OscInitStruct.PLL.PLLSource = RCC_PLLSOURCE_HSE;
  RCC_OscInitStruct.PLL.PLLMUL = RCC_PLL_MUL6;
  if (HAL_RCC_OscConfig(&RCC_OscInitStruct) != HAL_OK)
  {
    Error_Handler();
  }

  /** Initializes the CPU, AHB and APB buses clocks
  */
  RCC_ClkInitStruct.ClockType = RCC_CLOCKTYPE_HCLK|RCC_CLOCKTYPE_SYSCLK
                              |RCC_CLOCKTYPE_PCLK1|RCC_CLOCKTYPE_PCLK2;
  RCC_ClkInitStruct.SYSCLKSource = RCC_SYSCLKSOURCE_PLLCLK;
  RCC_ClkInitStruct.AHBCLKDivider = RCC_SYSCLK_DIV1;
  RCC_ClkInitStruct.APB1CLKDivider = RCC_HCLK_DIV2;
  RCC_ClkInitStruct.APB2CLKDivider = RCC_HCLK_DIV1;

  if (HAL_RCC_ClockConfig(&RCC_ClkInitStruct, FLASH_LATENCY_1) != HAL_OK)
  {
    Error_Handler();
  }
  PeriphClkInit.PeriphClockSelection = RCC_PERIPHCLK_USB|RCC_PERIPHCLK_USART3
                              |RCC_PERIPHCLK_I2C1|RCC_PERIPHCLK_RTC;
  PeriphClkInit.Usart3ClockSelection = RCC_USART3CLKSOURCE_PCLK1;
  PeriphClkInit.I2c1ClockSelection = RCC_I2C1CLKSOURCE_HSI;
  PeriphClkInit.RTCClockSelection = RCC_RTCCLKSOURCE_LSI;
  PeriphClkInit.USBClockSelection = RCC_USBCLKSOURCE_PLL;
  if (HAL_RCCEx_PeriphCLKConfig(&PeriphClkInit) != HAL_OK)
  {
    Error_Handler();
  }
}

static void MX_I2C1_Init(void)
{

  hi2c1.Instance = I2C1;
  hi2c1.Init.Timing = 0x2000090E;
  hi2c1.Init.OwnAddress1 = 0;
  hi2c1.Init.AddressingMode = I2C_ADDRESSINGMODE_7BIT;
  hi2c1.Init.DualAddressMode = I2C_DUALADDRESS_DISABLE;
  hi2c1.Init.OwnAddress2 = 0;
  hi2c1.Init.OwnAddress2Masks = I2C_OA2_NOMASK;
  hi2c1.Init.GeneralCallMode = I2C_GENERALCALL_DISABLE;
  hi2c1.Init.NoStretchMode = I2C_NOSTRETCH_DISABLE;
  if (HAL_I2C_Init(&hi2c1) != HAL_OK)
  {
    Error_Handler();
  }

  /** Configure Analogue filter
  */
  if (HAL_I2CEx_ConfigAnalogFilter(&hi2c1, I2C_ANALOGFILTER_ENABLE) != HAL_OK)
  {
    Error_Handler();
  }

  /** Configure Digital filter
  */
  if (HAL_I2CEx_ConfigDigitalFilter(&hi2c1, 0) != HAL_OK)
  {
    Error_Handler();
  }

}

static void MX_RTC_Init(void)
{

  RTC_TimeTypeDef sTime = {0};
  RTC_DateTypeDef sDate = {0};

  /** Initialize RTC Only
  */
  hrtc.Instance = RTC;
  hrtc.Init.HourFormat = RTC_HOURFORMAT_24;
  hrtc.Init.AsynchPrediv = 39;
  hrtc.Init.SynchPrediv = 999;
  hrtc.Init.OutPut = RTC_OUTPUT_DISABLE;
  hrtc.Init.OutPutPolarity = RTC_OUTPUT_POLARITY_HIGH;
  hrtc.Init.OutPutType = RTC_OUTPUT_TYPE_OPENDRAIN;
  if (HAL_RTC_Init(&hrtc) != HAL_OK)
  {
    Error_Handler();
  }

  /** Initialize RTC and set the Time and Date
  */
  sTime.Hours = 0x0;
  sTime.Minutes = 0x0;
  sTime.Seconds = 0x0;
  sTime.DayLightSaving = RTC_DAYLIGHTSAVING_NONE;
  sTime.StoreOperation = RTC_STOREOPERATION_RESET;
  if (HAL_RTC_SetTime(&hrtc, &sTime, RTC_FORMAT_BCD) != HAL_OK)
  {
    Error_Handler();
  }
  sDate.WeekDay = RTC_WEEKDAY_MONDAY;
  sDate.Month = RTC_MONTH_JANUARY;
  sDate.Date = 0x1;
  sDate.Year = 0x0;

  if (HAL_RTC_SetDate(&hrtc, &sDate, RTC_FORMAT_BCD) != HAL_OK)
  {
    Error_Handler();
  }

}

static void MX_SPI1_Init(void)
{

  /* SPI1 parameter configuration*/
  hspi1.Instance = SPI1;
  hspi1.Init.Mode = SPI_MODE_MASTER;
  hspi1.Init.Direction = SPI_DIRECTION_2LINES;
  hspi1.Init.DataSize = SPI_DATASIZE_4BIT;
  hspi1.Init.CLKPolarity = SPI_POLARITY_LOW;
  hspi1.Init.CLKPhase = SPI_PHASE_1EDGE;
  hspi1.Init.NSS = SPI_NSS_SOFT;
  hspi1.Init.BaudRatePrescaler = SPI_BAUDRATEPRESCALER_4;
  hspi1.Init.FirstBit = SPI_FIRSTBIT_MSB;
  hspi1.Init.TIMode = SPI_TIMODE_DISABLE;
  hspi1.Init.CRCCalculation = SPI_CRCCALCULATION_DISABLE;
  hspi1.Init.CRCPolynomial = 7;
  hspi1.Init.CRCLength = SPI_CRC_LENGTH_DATASIZE;
  hspi1.Init.NSSPMode = SPI_NSS_PULSE_ENABLE;
  if (HAL_SPI_Init(&hspi1) != HAL_OK)
  {
    Error_Handler();
  }

}

static void MX_TIM2_Init(void)
{

  TIM_ClockConfigTypeDef sClockSourceConfig = {0};
  TIM_MasterConfigTypeDef sMasterConfig = {0};
  TIM_OC_InitTypeDef sConfigOC = {0};

  htim2.Instance = TIM2;
  htim2.Init.Prescaler = 0;
  htim2.Init.CounterMode = TIM_COUNTERMODE_UP;
  htim2.Init.Period = 4294967295;
  htim2.Init.ClockDivision = TIM_CLOCKDIVISION_DIV1;
  htim2.Init.AutoReloadPreload = TIM_AUTORELOAD_PRELOAD_DISABLE;
  if (HAL_TIM_Base_Init(&htim2) != HAL_OK)
  {
    Error_Handler();
  }
  sClockSourceConfig.ClockSource = TIM_CLOCKSOURCE_INTERNAL;
  if (HAL_TIM_ConfigClockSource(&htim2, &sClockSourceConfig) != HAL_OK)
  {
    Error_Handler();
  }
  if (HAL_TIM_PWM_Init(&htim2) != HAL_OK)
  {
    Error_Handler();
  }
  sMasterConfig.MasterOutputTrigger = TIM_TRGO_RESET;
  sMasterConfig.MasterSlaveMode = TIM_MASTERSLAVEMODE_DISABLE;
  if (HAL_TIMEx_MasterConfigSynchronization(&htim2, &sMasterConfig) != HAL_OK)
  {
    Error_Handler();
  }
  sConfigOC.OCMode = TIM_OCMODE_PWM1;
  sConfigOC.Pulse = 0;
  sConfigOC.OCPolarity = TIM_OCPOLARITY_HIGH;
  sConfigOC.OCFastMode = TIM_OCFAST_DISABLE;
  if (HAL_TIM_PWM_ConfigChannel(&htim2, &sConfigOC, TIM_CHANNEL_2) != HAL_OK)
  {
    Error_Handler();
  }
  HAL_TIM_MspPostInit(&htim2);

}

static void MX_USART3_UART_Init(void)
{

  huart3.Instance = USART3;
  huart3.Init.BaudRate = 115200;
  huart3.Init.WordLength = UART_WORDLENGTH_8B;
  huart3.Init.StopBits = UART_STOPBITS_1;
  huart3.Init.Parity = UART_PARITY_NONE;
  huart3.Init.Mode = UART_MODE_TX_RX;
  huart3.Init.HwFlowCtl = UART_HWCONTROL_NONE;
  huart3.Init.OverSampling = UART_OVERSAMPLING_16;
  huart3.Init.OneBitSampling = UART_ONE_BIT_SAMPLE_DISABLE;
  huart3.AdvancedInit.AdvFeatureInit = UART_ADVFEATURE_NO_INIT;
  if (HAL_UART_Init(&huart3) != HAL_OK)
  {
    Error_Handler();
  }

}

static void MX_USB_PCD_Init(void)
{

  hpcd_USB_FS.Instance = USB;
  hpcd_USB_FS.Init.dev_endpoints = 8;
  hpcd_USB_FS.Init.speed = PCD_SPEED_FULL;
  hpcd_USB_FS.Init.phy_itface = PCD_PHY_EMBEDDED;
  hpcd_USB_FS.Init.low_power_enable = DISABLE;
  hpcd_USB_FS.Init.battery_charging_enable = DISABLE;
  if (HAL_PCD_Init(&hpcd_USB_FS) != HAL_OK)
  {
    Error_Handler();
  }

}

static void MX_GPIO_Init(void)
{
  GPIO_InitTypeDef GPIO_InitStruct = {0};

  /* GPIO Ports Clock Enable */
  __HAL_RCC_GPIOE_CLK_ENABLE();
  __HAL_RCC_GPIOC_CLK_ENABLE();
  __HAL_RCC_GPIOF_CLK_ENABLE();
  __HAL_RCC_GPIOA_CLK_ENABLE();
  __HAL_RCC_GPIOB_CLK_ENABLE();
  __HAL_RCC_GPIOD_CLK_ENABLE();

  /*Configure GPIO pin Output Level */
  HAL_GPIO_WritePin(GPIOE, CS_I2C_SPI_Pin|LD4_Pin|LD3_Pin|LD5_Pin
                          |LD7_Pin|LD9_Pin|LD10_Pin|LD8_Pin
                          |LD6_Pin, GPIO_PIN_RESET);

  /*Configure GPIO pin Output Level */
  HAL_GPIO_WritePin(GPIOC, GPIO_PIN_0|GPIO_PIN_1|GPIO_PIN_2|GPIO_PIN_3
                          |GPIO_PIN_4|GPIO_PIN_5|GPIO_PIN_6|GPIO_PIN_7
                          |GPIO_PIN_8|GPIO_PIN_9|GPIO_PIN_10, GPIO_PIN_RESET);

  /*Configure GPIO pin Output Level */
  HAL_GPIO_WritePin(GPIOD, GPIO_PIN_4|GPIO_PIN_5|GPIO_PIN_6|GPIO_PIN_7, GPIO_PIN_RESET);

  /*Configure GPIO pins : CS_I2C_SPI_Pin LD4_Pin LD3_Pin LD5_Pin
                           LD7_Pin LD9_Pin LD10_Pin LD8_Pin
                           LD6_Pin */
  GPIO_InitStruct.Pin = CS_I2C_SPI_Pin|LD4_Pin|LD3_Pin|LD5_Pin
                          |LD7_Pin|LD9_Pin|LD10_Pin|LD8_Pin
                          |LD6_Pin;
  GPIO_InitStruct.Mode = GPIO_MODE_OUTPUT_PP;
  GPIO_InitStruct.Pull = GPIO_NOPULL;
  GPIO_InitStruct.Speed = GPIO_SPEED_FREQ_LOW;
  HAL_GPIO_Init(GPIOE, &GPIO_InitStruct);

  /*Configure GPIO pins : MEMS_INT3_Pin MEMS_INT4_Pin */
  GPIO_InitStruct.Pin = MEMS_INT3_Pin|MEMS_INT4_Pin;
  GPIO_InitStruct.Mode = GPIO_MODE_EVT_RISING;
  GPIO_InitStruct.Pull = GPIO_NOPULL;
  HAL_GPIO_Init(GPIOE, &GPIO_InitStruct);

  /*Configure GPIO pins : PC0 PC1 PC2 PC3
                           PC4 PC5 PC6 PC7
                           PC8 PC9 PC10 */
  GPIO_InitStruct.Pin = GPIO_PIN_0|GPIO_PIN_1|GPIO_PIN_2|GPIO_PIN_3
                          |GPIO_PIN_4|GPIO_PIN_5|GPIO_PIN_6|GPIO_PIN_7
                          |GPIO_PIN_8|GPIO_PIN_9|GPIO_PIN_10;
  GPIO_InitStruct.Mode = GPIO_MODE_OUTPUT_PP;
  GPIO_InitStruct.Pull = GPIO_NOPULL;
  GPIO_InitStruct.Speed = GPIO_SPEED_FREQ_LOW;
  HAL_GPIO_Init(GPIOC, &GPIO_InitStruct);

  /*Configure GPIO pin : B1_Pin */
  GPIO_InitStruct.Pin = B1_Pin;
  GPIO_InitStruct.Mode = GPIO_MODE_INPUT;
  GPIO_InitStruct.Pull = GPIO_NOPULL;
  HAL_GPIO_Init(B1_GPIO_Port, &GPIO_InitStruct);

  /*Configure GPIO pins : PD8 PD9 PD10 PD11
                           PD12 PD13 */
  GPIO_InitStruct.Pin = GPIO_PIN_8|GPIO_PIN_9|GPIO_PIN_10|GPIO_PIN_11
                          |GPIO_PIN_12|GPIO_PIN_13;
  GPIO_InitStruct.Mode = GPIO_MODE_INPUT;
  GPIO_InitStruct.Pull = GPIO_NOPULL;
  HAL_GPIO_Init(GPIOD, &GPIO_InitStruct);

  /*Configure GPIO pins : PD0 PD1 PD2 */
  GPIO_InitStruct.Pin = GPIO_PIN_0|GPIO_PIN_1|GPIO_PIN_2;
  GPIO_InitStruct.Mode = GPIO_MODE_IT_RISING;
  GPIO_InitStruct.Pull = GPIO_PULLDOWN;
  HAL_GPIO_Init(GPIOD, &GPIO_InitStruct);

  /*Configure GPIO pins : PD4 PD5 PD6 PD7 */
  GPIO_InitStruct.Pin = GPIO_PIN_4|GPIO_PIN_5|GPIO_PIN_6|GPIO_PIN_7;
  GPIO_InitStruct.Mode = GPIO_MODE_OUTPUT_PP;
  GPIO_InitStruct.Pull = GPIO_NOPULL;
  GPIO_InitStruct.Speed = GPIO_SPEED_FREQ_LOW;
  HAL_GPIO_Init(GPIOD, &GPIO_InitStruct);

  /* EXTI interrupt init*/
  HAL_NVIC_SetPriority(EXTI0_IRQn, 1, 0);
  HAL_NVIC_EnableIRQ(EXTI0_IRQn);

  HAL_NVIC_SetPriority(EXTI1_IRQn, 1, 0);
  HAL_NVIC_EnableIRQ(EXTI1_IRQn);

  HAL_NVIC_SetPriority(EXTI2_TSC_IRQn, 1, 0);
  HAL_NVIC_EnableIRQ(EXTI2_TSC_IRQn);

}

void Error_Handler(void)
{
  __disable_irq();
  while (1)
  {
  }
}
